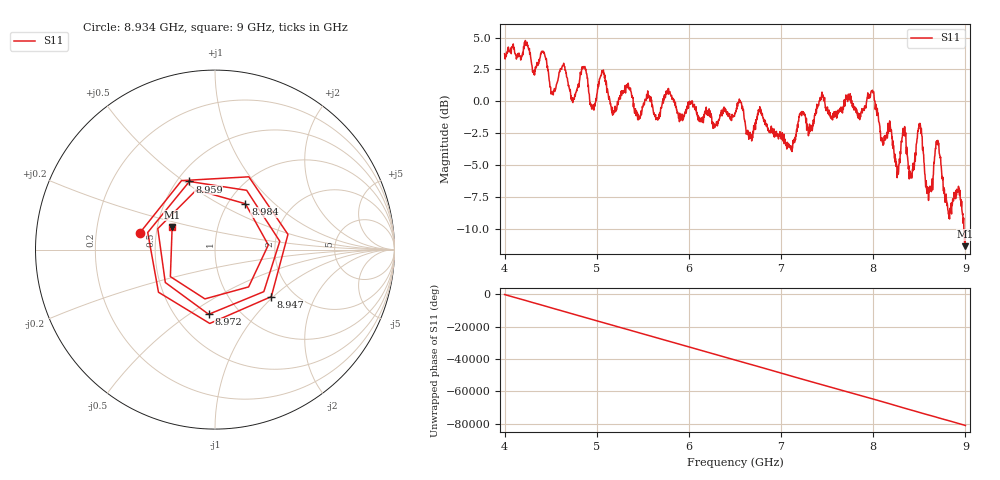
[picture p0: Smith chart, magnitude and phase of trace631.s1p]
! Created with skrf 1.8.0 (http://scikit-rf.org).
# Hz S RI R 50.0
!freq ReS11 ImS11
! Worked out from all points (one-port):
!   1601 points, 4 GHz to 9 GHz, reference 50 ohm
!   lowest |S11| = -11.4 dB at 9 GHz (marker M1), VSWR 1.74, Z = 29.9 + j8.15 ohm
!   |S11| at or under -10 dB: 8.983273 GHz to end of sweep
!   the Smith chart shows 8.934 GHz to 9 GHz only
!   S11 on the Smith chart (normalised r, x): 8.934 GHz: 0.40, +0.09; 8.947 GHz: 1.54, -0.97; 8.959 GHz: 0.58, +0.52; 8.972 GHz: 0.72, -0.60; 8.984 GHz: 1.20, +0.68; 9 GHz: 0.60, +0.16
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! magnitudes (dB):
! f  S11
! 4 GHz  3.7
! 4.416 GHz  3.9
! 4.528 GHz  0.5
! 4.625 GHz  2.7
! 4.741 GHz  -0.1
! 4.859 GHz  2.7
! 4.95 GHz  -0.6
! 5.062 GHz  2.3
! 5.25 GHz  0.2
! 5.875 GHz  -0.9
! 6.5 GHz  -1.0
! 7.125 GHz  -3.6
! 7.434 GHz  0.1
! 7.75 GHz  0.6
! 7.991 GHz  0.9
! 8.256 GHz  -5.0
! 8.328 GHz  -2.4
! 8.375 GHz  -4.6
! 8.506 GHz  -1.7
! 8.594 GHz  -6.8
! 8.697 GHz  -3.2
! 8.812 GHz  -8.6
! 8.934 GHz  -7.3
! 8.947 GHz  -7.8
! 8.959 GHz  -7.8
! 8.972 GHz  -8.8
! 8.984 GHz  -10.3
! 9 GHz  -11.4
